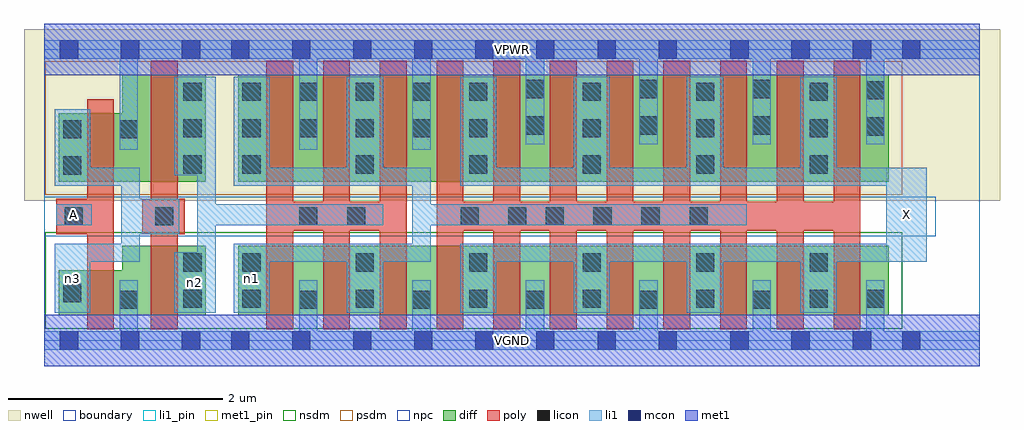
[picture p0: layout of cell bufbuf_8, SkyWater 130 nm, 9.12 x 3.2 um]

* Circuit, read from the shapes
.subckt bufbuf_8 A VGND VPWR X n1 n2 n3
XM1 VGND A n3 VSUBS sky130_fd_pr__nfet_01v8 w=0.42 l=0.25
XM2 n2 n3 VGND VSUBS sky130_fd_pr__nfet_01v8 w=0.65 l=0.25
XM3 VGND n2 n1 VSUBS sky130_fd_pr__nfet_01v8 w=0.65 l=0.25 m=3
XM4 X n1 VGND VSUBS sky130_fd_pr__nfet_01v8 w=0.65 l=0.25 m=8
XM5 VPWR A n3 n4 sky130_fd_pr__pfet_01v8 w=0.64 l=0.25
XM6 n2 n3 VPWR n4 sky130_fd_pr__pfet_01v8 w=1 l=0.25
XM7 VPWR n2 n1 n4 sky130_fd_pr__pfet_01v8 w=1 l=0.25 m=3
XM8 X n1 VPWR n4 sky130_fd_pr__pfet_01v8 w=1 l=0.25 m=8
.ends

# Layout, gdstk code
import gdstk
lib = gdstk.Library(unit=1e-6, precision=1e-09)
def R(c, l, rs):  # rectangles x0, y0, x1, y1
    for r in rs: c.add(gdstk.rectangle(r[:2], r[2:], *l))
def A(c, l, x, y, w, h, nx, ny, dx, dy):  # array of equal rectangles
    R(c, l, [(x+i*dx, y+j*dy, x+i*dx+w, y+j*dy+h) for i in range(nx) for j in range(ny)])
nwell = (64, 20)
diff = (65, 20)
poly = (66, 20)
licon = (66, 44)
li1_pin = (67, 16)
li1 = (67, 20)
mcon = (67, 44)
met1_pin = (68, 16)
met1 = (68, 20)
nsdm = (93, 44)
psdm = (94, 20)
npc = (95, 20)
boundary = (235, 4)

bufbuf_8 = lib.new_cell('bufbuf_8')
R(bufbuf_8, nwell, [(-0.19,1.305,8.93,2.91), (0,1.305,8.74,2.91)])
R(bufbuf_8, diff, [(0.135,0.235,1.51,0.655), (0.73,0.235,1.51,0.885), (1.81,0.235,7.89,0.885), (0.135,1.485,1.51,2.125), (0.73,1.485,1.51,2.485), (1.81,1.485,7.89,2.485)])
A(bufbuf_8, poly, 2.075, 0.105, 0.25, 2.51, 11, 1, 0.53, 0)
R(bufbuf_8, poly, [(0.4,0.105,0.65,2.255), (0.995,0.105,1.245,2.615), (0.11,0.995,0.65,1.325), (0.915,0.995,1.31,1.325), (2.075,1.025,3.385,1.295), (3.665,1.025,7.625,1.295)])
A(bufbuf_8, licon, 2.38, 0.295, 0.17, 0.17, 5, 1, 1.06, 0)
A(bufbuf_8, licon, 1.85, 0.305, 0.17, 0.17, 6, 2, 1.06, 0.34)
A(bufbuf_8, licon, 5.13, 1.075, 0.17, 0.17, 3, 1, 0.45, 0)
A(bufbuf_8, licon, 1.3, 1.56, 0.17, 0.17, 1, 3, 0, 0.34)
A(bufbuf_8, licon, 1.85, 1.56, 0.17, 0.17, 6, 1, 1.06, 0)
A(bufbuf_8, licon, 1.85, 1.9, 0.17, 0.17, 5, 2, 0.53, 0.34)
A(bufbuf_8, licon, 5.03, 1.9, 0.17, 0.17, 3, 2, 1.06, 0.34)
A(bufbuf_8, licon, 4.5, 1.925, 0.17, 0.17, 3, 2, 1.06, 0.34)
R(bufbuf_8, licon, [(0.705,0.295,0.875,0.465), (1.3,0.305,1.47,0.475), (7.68,0.305,7.85,0.475), (0.175,0.36,0.345,0.53), (1.3,0.645,1.47,0.815), (0.19,1.075,0.36,1.245), (1.035,1.075,1.205,1.245), (2.38,1.075,2.55,1.245), (2.83,1.075,3,1.245), (3.89,1.075,4.06,1.245), (4.335,1.075,4.505,1.245), (4.685,1.075,4.855,1.245), (0.175,1.55,0.345,1.72), (0.175,1.89,0.345,2.06), (0.705,1.89,0.875,2.06), (7.68,1.915,7.85,2.085), (7.68,2.255,7.85,2.425)])
R(bufbuf_8, li1_pin, [(7.865,0.735,8.245,1.615), (0.11,1.075,0.445,1.275)])
A(bufbuf_8, li1, 2.38, -0.085, 0.17, 0.65, 6, 1, 1.06, 0)
A(bufbuf_8, li1, 2.825, 0.26, 0.34, 0.645, 5, 1, 1.06, 0)
A(bufbuf_8, li1, 2.825, 1.445, 0.34, 1.02, 5, 1, 1.06, 0)
A(bufbuf_8, li1, 4.5, 1.835, 0.17, 0.97, 4, 1, 1.06, 0)
R(bufbuf_8, li1, [(0,-0.085,8.74,0.085), (0.705,-0.085,0.875,0.565), (0.095,0.26,0.43,0.905), (1.215,0.26,1.6,0.825), (1.43,0.26,1.6,2.465), (1.77,0.26,2.105,0.905), (0.095,0.735,0.89,0.905), (0.72,0.735,0.89,1.615), (1.77,0.735,3.61,0.905), (3.44,0.735,3.61,1.615), (3.885,0.735,8.245,0.905), (7.865,0.735,8.245,1.615), (0.72,0.995,1.26,1.325), (0.11,1.075,0.445,1.275), (1.43,1.075,3.165,1.275), (3.44,1.075,6.565,1.275), (0.095,1.445,0.89,1.615), (0.095,1.445,0.43,2.16), (1.77,1.445,3.61,1.615), (1.77,1.445,2.105,2.465), (3.885,1.445,8.245,1.615), (1.215,1.545,1.6,2.465), (0.705,1.785,0.875,2.805), (2.38,1.785,2.55,2.805), (3.44,1.785,3.61,2.805), (0,2.635,8.74,2.805)])
A(bufbuf_8, mcon, 0.145, -0.085, 0.17, 0.17, 3, 2, 0.57, 2.72)
A(bufbuf_8, mcon, 1.745, -0.085, 0.17, 0.17, 6, 2, 0.57, 2.72)
R(bufbuf_8, mcon, [(5.17,-0.085,5.34,0.085), (5.74,-0.085,5.91,0.085), (6.41,-0.085,6.58,0.085), (6.98,-0.085,7.15,0.085), (7.555,-0.085,7.725,0.085), (8.015,-0.085,8.185,0.085), (5.17,2.635,5.34,2.805), (5.74,2.635,5.91,2.805), (6.41,2.635,6.58,2.805), (6.98,2.635,7.15,2.805), (7.555,2.635,7.725,2.805), (8.015,2.635,8.185,2.805)])
R(bufbuf_8, met1_pin, [(0,-0.24,8.74,0.24), (0,2.48,8.74,2.96)])
R(bufbuf_8, met1, [(0,-0.24,8.74,0.24), (0,2.48,8.74,2.96)])
R(bufbuf_8, nsdm, [(0.01,0.11,8.015,1.01)])
R(bufbuf_8, psdm, [(0.01,1.36,8.015,2.61)])
R(bufbuf_8, npc, [(0,0.975,8.33,1.345)])
R(bufbuf_8, boundary, [(0,0,8.74,2.72)])
bufbuf_8.add(gdstk.Label('A', (0.277,1.175), layer=67, texttype=5))
bufbuf_8.add(gdstk.Label('X', (8.055,1.175), layer=67, texttype=5))
bufbuf_8.add(gdstk.Label('n3', (0.262,0.582), layer=67, texttype=5))
bufbuf_8.add(gdstk.Label('n2', (1.407,0.542), layer=67, texttype=5))
bufbuf_8.add(gdstk.Label('n1', (1.937,0.582), layer=67, texttype=5))
bufbuf_8.add(gdstk.Label('VPWR', (4.37,2.72), layer=68, texttype=5))
bufbuf_8.add(gdstk.Label('VGND', (4.37,0), layer=68, texttype=5))
bufbuf_8.add(gdstk.Label('A', (0.277,1.175), layer=67, texttype=16))
bufbuf_8.add(gdstk.Label('X', (8.055,1.175), layer=67, texttype=16))
bufbuf_8.add(gdstk.Label('VPWR', (4.37,2.72), layer=68, texttype=16))
bufbuf_8.add(gdstk.Label('VGND', (4.37,0), layer=68, texttype=16))

lib.write_gds('bufbuf_8.gds')
